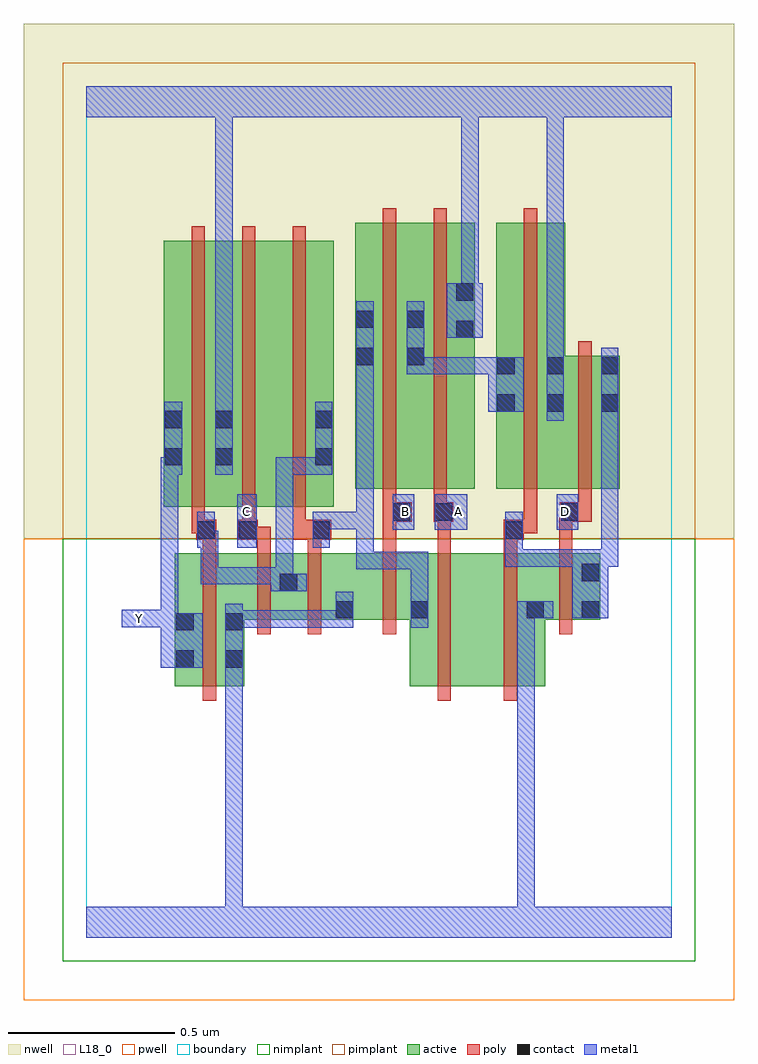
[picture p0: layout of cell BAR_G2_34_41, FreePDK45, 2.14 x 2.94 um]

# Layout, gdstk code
import gdstk
lib = gdstk.Library(unit=1e-6, precision=1e-09)
def R(c, l, rs):  # rectangles x0, y0, x1, y1
    for r in rs: c.add(gdstk.rectangle(r[:2], r[2:], *l))
def A(c, l, x, y, w, h, nx, ny, dx, dy):  # array of equal rectangles
    R(c, l, [(x+i*dx, y+j*dy, x+i*dx+w, y+j*dy+h) for i in range(nx) for j in range(ny)])
active = (1, 0)
pwell = (2, 0)
nwell = (3, 0)
nimplant = (4, 0)
pimplant = (5, 0)
poly = (9, 0)
contact = (10, 0)
metal1 = (11, 0)
L18_0 = (18, 0)
boundary = (235, 0)

bar_g2_34_41 = lib.new_cell('BAR_G2_34_41')
R(bar_g2_34_41, active, [(0.266,0.756,0.326,1.156), (0.266,0.756,0.474,1.156), (0.414,0.756,0.474,1.156), (0.972,0.756,1.032,1.156), (0.972,0.756,1.152,1.156), (1.152,0.756,1.38,1.156), (1.32,0.756,1.38,1.156), (0.414,0.956,0.638,1.156), (0.578,0.956,0.806,1.156), (0.578,0.956,0.638,1.098), (0.746,0.956,0.806,1.156), (0.746,0.956,1.032,1.156), (1.32,0.956,1.546,1.156), (1.486,0.956,1.546,1.156), (0.232,1.296,0.444,2.096), (0.232,1.296,0.292,2.044), (0.384,1.296,0.444,2.096), (0.384,1.296,0.564,2.096), (0.564,1.296,0.744,2.096), (0.684,1.296,0.744,2.096), (0.808,1.35,0.868,2.044), (0.808,1.35,1.02,2.15), (0.96,1.35,1.168,2.15), (0.96,1.35,1.02,2.044), (1.108,1.35,1.168,2.15), (1.232,1.35,1.292,2.15), (1.232,1.35,1.44,2.15), (1.38,1.35,1.604,1.75), (1.38,1.35,1.44,2.15), (1.544,1.35,1.604,1.75)])
R(bar_g2_34_41, pwell, [(-0.188,-0.188,1.948,1.2)])
R(bar_g2_34_41, nwell, [(-0.188,1.2,1.948,2.748)])
R(bar_g2_34_41, nimplant, [(-0.072,-0.072,1.832,1.2)])
R(bar_g2_34_41, pimplant, [(-0.072,1.2,1.832,2.632)])
A(bar_g2_34_41, poly, 0.316, 1.216, 0.04, 0.076, 3, 1, 0.152, 0)
A(bar_g2_34_41, poly, 0.316, 1.252, 0.04, 0.888, 3, 1, 0.152, 0)
R(bar_g2_34_41, poly, [(0.35,0.712,0.39,1.2), (1.056,0.712,1.096,1.2), (1.256,0.712,1.296,1.2), (0.514,0.912,0.554,1.2), (0.666,0.912,0.706,1.2), (0.892,0.912,0.932,1.2), (1.422,0.912,1.462,1.2), (0.35,1.16,0.39,1.236), (0.514,1.16,0.554,1.236), (0.666,1.16,0.706,1.236), (0.892,1.16,0.932,1.29), (1.056,1.16,1.096,1.29), (1.256,1.16,1.296,1.236), (1.422,1.16,1.462,1.29), (0.33,1.196,0.39,1.256), (0.456,1.196,0.516,1.256), (0.476,1.196,0.516,1.236), (0.476,1.196,0.554,1.236), (0.62,1.196,0.736,1.256), (0.666,1.196,0.706,1.236), (0.666,1.196,0.706,1.236), (1.256,1.196,1.316,1.256), (0.316,1.216,0.37,1.256), (0.33,1.216,0.37,1.256), (1.276,1.216,1.316,1.256), (1.276,1.216,1.356,1.256), (1.316,1.216,1.356,1.346), (0.892,1.25,0.932,1.29), (0.892,1.25,0.932,1.29), (0.892,1.25,0.978,1.31), (1.044,1.25,1.104,1.31), (1.056,1.25,1.096,1.29), (1.056,1.25,1.096,1.29), (1.422,1.25,1.464,1.29), (1.424,1.25,1.464,1.29), (1.424,1.25,1.52,1.31), (0.892,1.27,0.932,1.346), (1.044,1.27,1.084,1.346), (1.48,1.27,1.52,1.346), (0.892,1.306,0.932,2.194), (1.044,1.306,1.084,2.194), (1.316,1.306,1.356,2.194), (1.48,1.306,1.52,1.794)])
R(bar_g2_34_41, contact, [(0.27,0.812,0.322,0.864), (0.418,0.812,0.47,0.864), (0.27,0.924,0.322,0.976), (0.418,0.924,0.47,0.976), (0.75,0.96,0.802,1.012), (0.976,0.96,1.028,1.012), (1.324,0.96,1.376,1.012), (1.49,0.96,1.542,1.012), (0.582,1.042,0.634,1.094), (1.49,1.072,1.542,1.124), (0.334,1.2,0.386,1.252), (0.46,1.2,0.512,1.252), (0.68,1.2,0.732,1.252), (1.26,1.2,1.312,1.252), (0.922,1.254,0.974,1.306), (1.048,1.254,1.1,1.306), (1.428,1.254,1.48,1.306), (0.236,1.42,0.288,1.472), (0.388,1.42,0.44,1.472), (0.688,1.42,0.74,1.472), (0.236,1.532,0.288,1.584), (0.388,1.532,0.44,1.584), (0.688,1.532,0.74,1.584), (1.236,1.582,1.288,1.634), (1.384,1.582,1.436,1.634), (1.548,1.582,1.6,1.634), (1.236,1.694,1.288,1.746), (1.384,1.694,1.436,1.746), (1.548,1.694,1.6,1.746), (0.812,1.722,0.864,1.774), (0.964,1.722,1.016,1.774), (1.112,1.804,1.164,1.856), (0.812,1.834,0.864,1.886), (0.964,1.834,1.016,1.886), (1.112,1.916,1.164,1.968)])
R(bar_g2_34_41, metal1, [(0,0,1.76,0.092), (0.418,0.04,0.47,0.092), (0.418,0.04,0.47,0.092), (0.418,0.04,0.47,0.092), (0.418,0.04,0.47,0.092), (0.418,0.04,0.47,0.092), (0.418,0.04,0.47,0.092), (0.418,0.04,0.47,0.092), (0.418,0.04,0.47,0.092), (0.418,0.04,0.47,0.092), (0.418,0.04,0.47,0.092), (0.418,0.04,0.47,0.836), (1.296,0.04,1.348,0.092), (1.296,0.04,1.348,0.092), (1.296,0.04,1.348,0.092), (1.296,0.04,1.348,0.092), (1.296,0.04,1.348,1.012), (0.418,0.784,0.47,1.004), (0.418,0.784,0.47,0.836), (0.418,0.784,0.47,0.836), (0.224,0.812,0.35,0.976), (0.224,0.924,0.276,0.986), (0.418,0.932,0.512,0.984), (0.46,0.932,0.512,0.984), (0.46,0.932,0.622,0.984), (0.57,0.932,0.622,0.984), (0.57,0.932,0.622,0.984), (0.57,0.932,0.622,0.984), (0.57,0.932,0.622,0.984), (0.57,0.932,0.622,0.984), (0.57,0.932,0.622,0.984), (0.57,0.932,0.622,0.984), (0.57,0.932,0.802,0.984), (0.75,0.932,0.802,1.04), (0.976,0.932,1.028,1.04), (0.106,0.934,0.276,0.986), (0.224,0.934,0.276,1.444), (1.296,0.96,1.348,1.012), (1.296,0.96,1.348,1.012), (1.296,0.96,1.348,1.012), (1.296,0.96,1.348,1.012), (1.296,0.96,1.348,1.012), (1.296,0.96,1.348,1.012), (1.296,0.96,1.348,1.012), (1.296,0.96,1.348,1.012), (1.296,0.96,1.404,1.012), (1.462,0.96,1.57,1.124), (0.976,0.988,1.028,1.16), (0.554,1.042,0.662,1.094), (0.57,1.042,0.622,1.114), (0.344,1.062,0.496,1.114), (0.344,1.062,0.396,1.224), (0.444,1.062,0.496,1.114), (0.444,1.062,0.622,1.114), (0.57,1.062,0.622,1.114), (0.57,1.062,0.622,1.444), (1.518,1.072,1.57,1.168), (0.812,1.108,0.864,1.16), (0.812,1.108,0.864,1.16), (0.812,1.108,0.864,1.16), (0.812,1.108,0.864,1.28), (0.812,1.108,1.028,1.16), (0.976,1.108,1.028,1.16), (1.26,1.116,1.57,1.168), (1.26,1.116,1.312,1.224), (1.518,1.116,1.57,1.168), (1.518,1.116,1.57,1.168), (1.518,1.116,1.6,1.168), (1.548,1.116,1.6,1.606), (1.548,1.116,1.6,1.168), (1.548,1.116,1.6,1.168), (0.334,1.172,0.386,1.28), (0.334,1.172,0.396,1.224), (0.454,1.172,0.512,1.334), (0.68,1.172,0.732,1.28), (1.26,1.172,1.312,1.224), (1.26,1.172,1.312,1.28), (0.922,1.226,0.986,1.334), (1.048,1.226,1.146,1.334), (1.414,1.226,1.48,1.334), (0.68,1.228,0.732,1.28), (0.68,1.228,0.732,1.28), (0.68,1.228,0.864,1.28), (0.812,1.228,0.864,1.28), (0.812,1.228,0.864,1.746), (0.224,1.392,0.286,1.444), (0.234,1.392,0.286,1.444), (0.234,1.392,0.288,1.612), (0.388,1.392,0.44,1.612), (0.57,1.392,0.622,1.444), (0.57,1.392,0.622,1.444), (0.57,1.392,0.622,1.444), (0.57,1.392,0.74,1.444), (0.688,1.392,0.74,1.612), (0.688,1.392,0.74,1.444), (0.688,1.392,0.74,1.444), (1.384,1.554,1.436,1.774), (1.548,1.554,1.6,1.774), (0.388,1.56,0.44,1.612), (0.388,1.56,0.44,1.612), (0.388,1.56,0.44,1.612), (0.388,1.56,0.44,1.612), (0.388,1.56,0.44,1.612), (0.388,1.56,0.44,1.612), (0.388,1.56,0.44,2.52), (1.208,1.582,1.316,1.746), (0.812,1.694,0.864,1.914), (0.964,1.694,1.016,1.914), (0.964,1.694,1.016,1.746), (0.964,1.694,1.016,1.746), (0.964,1.694,1.126,1.746), (1.074,1.694,1.126,1.746), (1.074,1.694,1.26,1.746), (1.384,1.722,1.436,2.52), (1.084,1.804,1.192,1.968), (1.128,1.916,1.18,2.52), (0,2.468,1.76,2.56), (0.388,2.468,0.44,2.52), (0.388,2.468,0.44,2.52), (1.128,2.468,1.18,2.52), (1.128,2.468,1.18,2.52), (1.128,2.468,1.18,2.52), (1.128,2.468,1.18,2.52), (1.128,2.468,1.18,2.52), (1.128,2.468,1.18,2.52), (1.128,2.468,1.18,2.52), (1.128,2.468,1.18,2.52), (1.384,2.468,1.436,2.52), (1.384,2.468,1.436,2.52), (1.384,2.468,1.436,2.52), (1.384,2.468,1.436,2.52), (1.384,2.468,1.436,2.52), (1.384,2.468,1.436,2.52), (1.384,2.468,1.436,2.52), (1.384,2.468,1.436,2.52)])
R(bar_g2_34_41, L18_0, [(0,0,1.76,0.092), (0.418,0.04,0.47,0.092), (0.418,0.04,0.47,0.092), (0.418,0.04,0.47,0.092), (0.418,0.04,0.47,0.092), (0.418,0.04,0.47,0.092), (0.418,0.04,0.47,0.092), (0.418,0.04,0.47,0.092), (0.418,0.04,0.47,0.092), (0.418,0.04,0.47,0.092), (0.418,0.04,0.47,0.092), (0.418,0.04,0.47,0.836), (1.296,0.04,1.348,0.092), (1.296,0.04,1.348,0.092), (1.296,0.04,1.348,0.092), (1.296,0.04,1.348,0.092), (1.296,0.04,1.348,1.012), (0.418,0.784,0.47,0.836), (0.418,0.784,0.47,0.836), (0.418,0.784,0.47,1.004), (0.224,0.812,0.35,0.976), (0.224,0.924,0.276,0.986), (0.418,0.932,0.512,0.984), (0.46,0.932,0.512,0.984), (0.46,0.932,0.622,0.984), (0.57,0.932,0.622,0.984), (0.57,0.932,0.622,0.984), (0.57,0.932,0.622,0.984), (0.57,0.932,0.622,0.984), (0.57,0.932,0.622,0.984), (0.57,0.932,0.622,0.984), (0.57,0.932,0.622,0.984), (0.57,0.932,0.802,0.984), (0.75,0.932,0.802,1.04), (0.106,0.934,0.276,0.986), (0.134,0.934,0.186,0.986), (0.224,0.934,0.276,1.444), (1.296,0.96,1.348,1.012), (1.296,0.96,1.348,1.012), (1.296,0.96,1.348,1.012), (1.296,0.96,1.348,1.012), (1.296,0.96,1.348,1.012), (1.296,0.96,1.348,1.012), (1.296,0.96,1.348,1.012), (1.296,0.96,1.348,1.012), (1.296,0.96,1.404,1.012), (0.454,1.172,0.512,1.334), (0.922,1.226,0.986,1.334), (1.048,1.226,1.146,1.334), (1.414,1.226,1.48,1.334), (0.454,1.254,0.506,1.306), (0.934,1.254,0.986,1.306), (1.094,1.254,1.146,1.306), (1.414,1.254,1.466,1.306), (0.224,1.392,0.286,1.444), (0.234,1.392,0.288,1.612), (0.234,1.392,0.286,1.444), (0.388,1.392,0.44,1.612), (1.384,1.554,1.436,1.774), (0.388,1.56,0.44,1.612), (0.388,1.56,0.44,1.612), (0.388,1.56,0.44,1.612), (0.388,1.56,0.44,1.612), (0.388,1.56,0.44,1.612), (0.388,1.56,0.44,1.612), (0.388,1.56,0.44,2.52), (1.384,1.722,1.436,2.52), (1.084,1.804,1.192,1.968), (1.128,1.916,1.18,2.52), (0,2.468,1.76,2.56), (0.388,2.468,0.44,2.52), (0.388,2.468,0.44,2.52), (1.128,2.468,1.18,2.52), (1.128,2.468,1.18,2.52), (1.128,2.468,1.18,2.52), (1.128,2.468,1.18,2.52), (1.128,2.468,1.18,2.52), (1.128,2.468,1.18,2.52), (1.128,2.468,1.18,2.52), (1.128,2.468,1.18,2.52), (1.384,2.468,1.436,2.52), (1.384,2.468,1.436,2.52), (1.384,2.468,1.436,2.52), (1.384,2.468,1.436,2.52), (1.384,2.468,1.436,2.52), (1.384,2.468,1.436,2.52), (1.384,2.468,1.436,2.52), (1.384,2.468,1.436,2.52)])
R(bar_g2_34_41, boundary, [(0,0,1.76,2.56)])
bar_g2_34_41.add(gdstk.Label('A', (1.12,1.28), layer=11, texttype=0))
bar_g2_34_41.add(gdstk.Label('B', (0.96,1.28), layer=11, texttype=0))
bar_g2_34_41.add(gdstk.Label('C', (0.48,1.28), layer=11, texttype=0))
bar_g2_34_41.add(gdstk.Label('D', (1.44,1.28), layer=11, texttype=0))
bar_g2_34_41.add(gdstk.Label('Y', (0.16,0.96), layer=11, texttype=0))

lib.write_gds('BAR_G2_34_41.gds')
